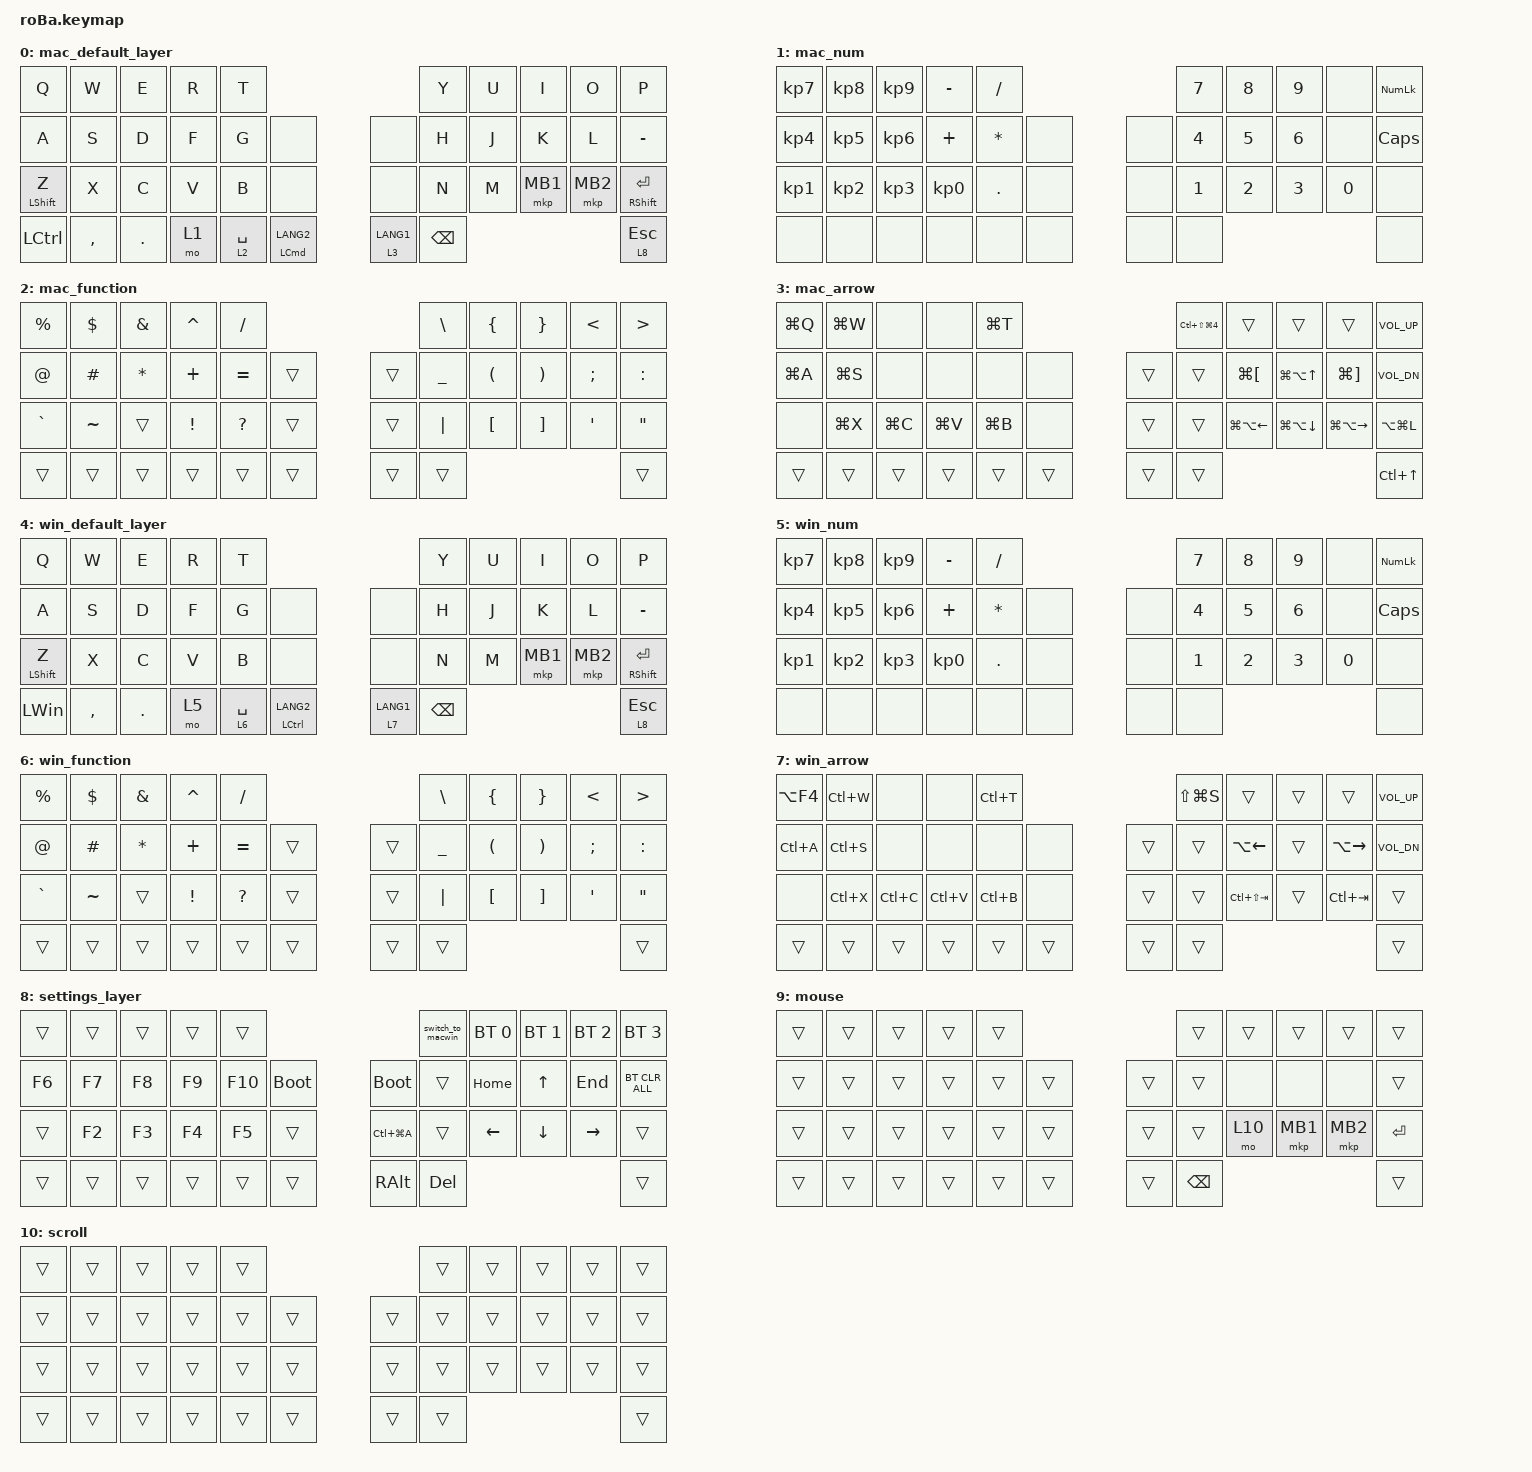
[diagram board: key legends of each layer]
#include <behaviors.dtsi>
#include <dt-bindings/zmk/bt.h>
#include <dt-bindings/zmk/keys.h>
#include <dt-bindings/zmk/pointing.h>

// ============================================================
// roBa キーボード - レイヤー構成
// ============================================================
// Mac用レイヤー (0-3):
//   0: mac_default_layer    - Mac用QWERTY
//   1: mac_function         - Mac用ファンクションキー
//   2: mac_num              - Mac用テンキー・記号
//   3: mac_arrow            - Mac用矢印・ナビゲーション
//
// Windows用レイヤー (4-7):
//   4: win_default_layer    - Win用QWERTY
//   5: win_function         - Win用ファンクションキー
//   6: win_num              - Win用テンキー・記号
//   7: win_arrow            - Win用矢印・ナビゲーション
//
// 共通レイヤー (8-10):
//   8: settings_layer       - Mac/Win切替、BT管理
//   9: mouse                - マウスクリック（トラックボール自動）
//  10: scroll               - スクロールモード
// ============================================================

&mt {
    flavor = "balanced";
    quick-tap-ms = <0>;
};

&trackball {
    automouse-layer = <9>;   // マウスレイヤー（共通）
    scroll-layers = <10>;    // スクロールレイヤー（共通）
    // arrows {
    //     layers = <3>;
    //     bindings =
    //         <&kp RIGHT_ARROW>,
    //         <&kp LEFT_ARROW>,
    //         <&kp UP_ARROW>,
    //         <&kp DOWN_ARROW>;
    //     tick = <10>;
    //     wait-ms = <5>;
    //     tap-ms = <5>;
    // };
};

/ {
    combos {
        compatible = "zmk,combos";

        tab {
            bindings = <&kp LS(TAB)>;
            key-positions = <11 12>;
        };

        shift_tab {
            bindings = <&kp TAB>;
            key-positions = <12 13>;
        };
    };

    macros {
        to_layer_0: to_layer_0 {
            compatible = "zmk,behavior-macro-one-param";
            #binding-cells = <1>;
            bindings = <&to 0 &macro_param_1to1 &kp MACRO_PLACEHOLDER>;
            label = "TO_LAYER_0";
        };

        // Macモードに切り替え（BT0 + レイヤー0をベースに）

        switch_to_macwin: switch_to_mac {
            compatible = "zmk,behavior-macro";
            #binding-cells = <0>;
            bindings =
                <&macro_tap>,
                <&toggle_layer_off 4>,
                <&macro_tap>,
                <&toggle_layer_on 0>;

            // Bluetoothプロファイル0を選択

            label = "SWITCH_TO_MAC";
        };

        // Windowsモードに切り替え（BT1 + レイヤー4をベースに）
    };

    behaviors {
        lt_to_layer_0: lt_to_layer_0 {
            compatible = "zmk,behavior-hold-tap";
            label = "LAYER_TAP_TO_0";
            bindings = <&mo>, <&to_layer_0>;

            #binding-cells = <2>;
            tapping-term-ms = <200>;
        };

        // レイヤーを明示的にONにするbehavior

        toggle_layer_on: toggle_layer_on {
            compatible = "zmk,behavior-macro-one-param";
            #binding-cells = <1>;
            bindings =
                <&macro_param_1to1>,
                <&macro_tap>,
                <&tog MACRO_PLACEHOLDER>;

            label = "TOGGLE_LAYER_ON";
        };

        // レイヤーを明示的にOFFにするbehavior

        toggle_layer_off: toggle_layer_off {
            compatible = "zmk,behavior-macro-one-param";
            #binding-cells = <1>;
            bindings =
                <&macro_param_1to1>,
                <&macro_tap>,
                <&tog MACRO_PLACEHOLDER>;

            label = "TOGGLE_LAYER_OFF";
        };
    };

    keymap {
        compatible = "zmk,keymap";

        // ============================================================
        // Mac用レイヤー (0-3)
        // ============================================================

        mac_default_layer {
            bindings = <
&kp Q             &kp W      &kp E       &kp R  &kp T                                                 &kp Y          &kp U  &kp I     &kp O     &kp P
&kp A             &kp S      &kp D       &kp F  &kp G        &none                       &none        &kp H          &kp J  &kp K     &kp L     &kp MINUS
&mt LEFT_SHIFT Z  &kp X      &kp C       &kp V  &kp B        &none                       &none        &kp N          &kp M  &mkp MB1  &mkp MB2  &mt RIGHT_SHIFT ENTER
&kp LCTRL         &kp COMMA  &kp PERIOD  &mo 1  &lt 2 SPACE  &mt LEFT_COMMAND LANG2      &lt 3 LANG1  &kp BACKSPACE                             &lt 8 ESC
            >;
        };

        mac_num {
            bindings = <
&kp KP_NUMBER_7  &kp KP_NUMBER_8  &kp KP_NUMBER_9  &kp MINUS        &kp SLASH                       &kp N7        &kp N8        &kp N9        &none   &kp KP_NUMLOCK
&kp KP_NUMBER_4  &kp KP_NUMBER_5  &kp KP_NUMBER_6  &kp PLUS         &kp ASTERISK  &none      &none  &kp NUMBER_4  &kp N5        &kp NUMBER_6  &none   &kp CAPSLOCK
&kp KP_N1        &kp KP_N2        &kp KP_NUMBER_3  &kp KP_NUMBER_0  &kp PERIOD    &none      &none  &kp NUMBER_1  &kp NUMBER_2  &kp NUMBER_3  &kp N0  &none
&none            &none            &none            &none            &none         &none      &none  &none                                             &none
            >;
        };

        mac_function {
            bindings = <
&kp PERCENT  &kp DOLLAR  &kp AMPERSAND  &kp CARET        &kp SLASH                         &kp BACKSLASH   &kp LEFT_BRACE        &kp RIGHT_BRACE        &kp LESS_THAN  &kp GREATER_THAN
&kp AT_SIGN  &kp HASH    &kp ASTERISK   &kp PLUS         &kp EQUAL     &trans      &trans  &kp UNDERSCORE  &kp LEFT_PARENTHESIS  &kp RIGHT_PARENTHESIS  &kp SEMICOLON  &kp COLON
&kp GRAVE    &kp TILDE   &trans         &kp EXCLAMATION  &kp QUESTION  &trans      &trans  &kp PIPE        &kp LEFT_BRACKET      &kp RIGHT_BRACKET      &kp SQT        &kp DOUBLE_QUOTES
&trans       &trans      &trans         &trans           &trans        &trans      &trans  &trans                                                                      &trans
            >;
        };

        mac_arrow {
            bindings = <
&kp LG(Q)  &kp LG(W)  &none      &none      &kp LG(T)                      &kp LC(LS(LG(NUMBER_4)))  &trans                  &trans                  &trans                   &kp C_VOLUME_UP
&kp LG(A)  &kp LG(S)  &none      &none      &none      &none       &trans  &trans                    &kp LG(LEFT_BRACKET)    &kp LG(LA(UP_ARROW))    &kp LG(RIGHT_BRACKET)    &kp C_VOL_DN
&none      &kp LG(X)  &kp LG(C)  &kp LG(V)  &kp LG(B)  &none       &trans  &trans                    &kp LG(LA(LEFT_ARROW))  &kp LG(LA(DOWN_ARROW))  &kp LG(LA(RIGHT_ARROW))  &kp LA(LG(L))
&trans     &trans     &trans     &trans     &trans     &trans      &trans  &trans                                                                                             &kp LC(UP_ARROW)
            >;
        };

        win_default_layer {
            bindings = <
&kp Q             &kp W      &kp E       &kp R  &kp T                                          &kp Y          &kp U  &kp I     &kp O     &kp P
&kp A             &kp S      &kp D       &kp F  &kp G        &none                &none        &kp H          &kp J  &kp K     &kp L     &kp MINUS
&mt LEFT_SHIFT Z  &kp X      &kp C       &kp V  &kp B        &none                &none        &kp N          &kp M  &mkp MB1  &mkp MB2  &mt RIGHT_SHIFT ENTER
&kp LEFT_WIN      &kp COMMA  &kp PERIOD  &mo 5  &lt 6 SPACE  &mt LCTRL LANG2      &lt 7 LANG1  &kp BACKSPACE                             &lt 8 ESC
            >;
        };

        win_num {
            bindings = <
&kp KP_NUMBER_7  &kp KP_NUMBER_8  &kp KP_NUMBER_9  &kp MINUS        &kp SLASH                       &kp N7        &kp N8        &kp N9        &none   &kp KP_NUMLOCK
&kp KP_NUMBER_4  &kp KP_NUMBER_5  &kp KP_NUMBER_6  &kp PLUS         &kp ASTERISK  &none      &none  &kp NUMBER_4  &kp N5        &kp NUMBER_6  &none   &kp CAPSLOCK
&kp KP_N1        &kp KP_N2        &kp KP_NUMBER_3  &kp KP_NUMBER_0  &kp PERIOD    &none      &none  &kp NUMBER_1  &kp NUMBER_2  &kp NUMBER_3  &kp N0  &none
&none            &none            &none            &none            &none         &none      &none  &none                                             &none
            >;
        };

        win_function {
            bindings = <
&kp PERCENT  &kp DOLLAR  &kp AMPERSAND  &kp CARET        &kp SLASH                         &kp BACKSLASH   &kp LEFT_BRACE        &kp RIGHT_BRACE        &kp LESS_THAN  &kp GREATER_THAN
&kp AT_SIGN  &kp HASH    &kp ASTERISK   &kp PLUS         &kp EQUAL     &trans      &trans  &kp UNDERSCORE  &kp LEFT_PARENTHESIS  &kp RIGHT_PARENTHESIS  &kp SEMICOLON  &kp COLON
&kp GRAVE    &kp TILDE   &trans         &kp EXCLAMATION  &kp QUESTION  &trans      &trans  &kp PIPE        &kp LEFT_BRACKET      &kp RIGHT_BRACKET      &kp SQT        &kp DOUBLE_QUOTES
&trans       &trans      &trans         &trans           &trans        &trans      &trans  &trans                                                                      &trans
            >;
        };

        win_arrow {
            bindings = <
&kp LA(F4)  &kp LC(W)  &none      &none      &kp LC(T)                      &kp LS(LG(S))  &trans              &trans  &trans               &kp C_VOLUME_UP
&kp LC(A)   &kp LC(S)  &none      &none      &none      &none       &trans  &trans         &kp LA(LEFT_ARROW)  &trans  &kp LA(RIGHT_ARROW)  &kp C_VOL_DN
&none       &kp LC(X)  &kp LC(C)  &kp LC(V)  &kp LC(B)  &none       &trans  &trans         &kp LC(LS(TAB))     &trans  &kp LC(TAB)          &trans
&trans      &trans     &trans     &trans     &trans     &trans      &trans  &trans                                                          &trans
            >;
        };

        settings_layer {
            bindings = <
&trans  &trans  &trans  &trans  &trans                                   &switch_to_macwin  &bt BT_SEL 0    &bt BT_SEL 1    &bt BT_SEL 2     &bt BT_SEL 3
&kp F6  &kp F7  &kp F8  &kp F9  &kp F10  &bootloader      &bootloader    &trans             &kp HOME        &kp UP_ARROW    &kp END          &bt BT_CLR_ALL
&trans  &kp F2  &kp F3  &kp F4  &kp F5   &trans           &kp LC(LG(A))  &trans             &kp LEFT_ARROW  &kp DOWN_ARROW  &kp RIGHT_ARROW  &trans
&trans  &trans  &trans  &trans  &trans   &trans           &kp RIGHT_ALT  &kp DELETE                                                          &trans
            >;
        };

        mouse {
            bindings = <
&trans  &trans  &trans  &trans  &trans                      &trans         &trans  &trans    &trans    &trans
&trans  &trans  &trans  &trans  &trans  &trans      &trans  &trans         &none   &none     &none     &trans
&trans  &trans  &trans  &trans  &trans  &trans      &trans  &trans         &mo 10  &mkp MB1  &mkp MB2  &kp ENTER
&trans  &trans  &trans  &trans  &trans  &trans      &trans  &kp BACKSPACE                              &trans
            >;
        };

        scroll {
            bindings = <
&trans  &trans  &trans  &trans  &trans                      &trans  &trans  &trans  &trans  &trans
&trans  &trans  &trans  &trans  &trans  &trans      &trans  &trans  &trans  &trans  &trans  &trans
&trans  &trans  &trans  &trans  &trans  &trans      &trans  &trans  &trans  &trans  &trans  &trans
&trans  &trans  &trans  &trans  &trans  &trans      &trans  &trans                          &trans
            >;
        };
    };
};
